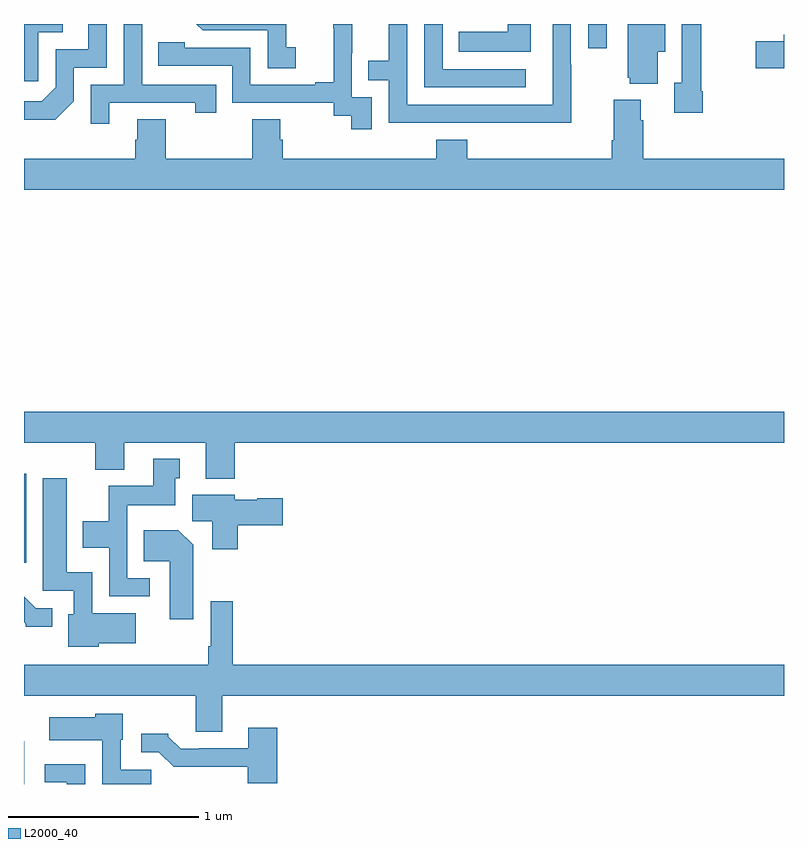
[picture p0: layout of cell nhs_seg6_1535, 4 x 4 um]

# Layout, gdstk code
import gdstk
lib = gdstk.Library(unit=1e-6, precision=1e-09)
def R(c, l, rs):  # rectangles x0, y0, x1, y1
    for r in rs: c.add(gdstk.rectangle(r[:2], r[2:], *l))
def P(c, l, *ps):  # polygons
    for p in ps: c.add(gdstk.Polygon(p, *l))
L2000_40 = (2000, 40)

nhs_seg6_1535 = lib.new_cell('nhs_seg6_1535')
R(nhs_seg6_1535, L2000_40, [(203,985.5,203.002,985.726), (203,986.664,203.011,987.133), (205.971,989.373,206.067,989.5)])
P(nhs_seg6_1535, L2000_40, [(203.449,989.085),(203.9,989.085),(203.9,989.034),(204.011,989.034),(204.011,989.181),(203.622,989.181),(203.622,989.5),(203.526,989.5),(203.526,989.181),(203.352,989.181),(203.352,988.974),(203.449,988.974)],
  [(204.831,989.115),(204.726,989.115),(204.726,989.345),(204.728,989.345),(204.728,989.5),(204.628,989.5),(204.628,989.477),(204.629,989.477),(204.629,989.194),(204.533,989.194),(204.533,989.181),(204.192,989.181),(204.192,989.376),(203.847,989.376),(203.847,989.403),(203.707,989.403),(203.707,989.28),(204.096,989.28),(204.096,989.085),(204.63,989.085),(204.63,989.017),(204.723,989.017),(204.723,988.947),(204.831,988.947)],
  [(205.881,989.285),(205.878,989.285),(205.878,989.5),(205.782,989.5),(205.782,989.076),(205.017,989.076),(205.017,989.5),(204.921,989.5),(204.921,989.306),(204.811,989.306),(204.811,989.205),(204.921,989.205),(204.921,988.98),(205.417,988.98),(205.417,988.979),(205.881,988.979)],
  [(203.076,989.457),(203.205,989.457),(203.205,989.5),(203,989.5),(203,989.199),(203.076,989.199)],
  [(205.642,989.262),(205.203,989.262),(205.203,989.5),(205.107,989.5),(205.107,989.166),(205.642,989.166)],
  [(206.335,989.354),(206.374,989.354),(206.374,989.5),(206.177,989.5),(206.177,989.217),(206.189,989.217),(206.189,989.186),(206.335,989.186)],
  [(206.572,989.146),(206.564,989.146),(206.564,989.5),(206.463,989.5),(206.463,989.19),(206.423,989.19),(206.423,989.034),(206.572,989.034)],
  [(205.666,989.5),(205.545,989.5),(205.545,989.458),(205.288,989.458),(205.288,989.354),(205.666,989.354)],
  [(203.262,989.094),(203.262,989.271),(203.436,989.271),(203.436,989.5),(203.339,989.5),(203.339,989.367),(203.166,989.367),(203.166,989.166),(203.094,989.094),(203,989.094),(203,988.997),(203.164,988.997)],
  [(204.43,989.377),(204.381,989.377),(204.381,989.5),(203.906,989.5),(203.94,989.466),(204.282,989.466),(204.282,989.268),(204.43,989.268)],
  [(207,989.444),(206.999,989.444),(206.999,989.408),(206.85,989.408),(206.85,989.266),(207,989.266)],
  [(207,988.792),(206.258,988.792),(206.258,988.994),(206.245,988.994),(206.245,989.101),(206.105,989.101),(206.105,988.888),(206.093,988.888),(206.093,988.792),(205.334,988.792),(205.334,988.891),(205.169,988.891),(205.169,988.792),(204.362,988.792),(204.362,988.89),(204.349,988.89),(204.349,989),(204.202,989),(204.202,988.792),(203.745,988.792),(203.745,989),(203.597,989),(203.597,988.89),(203.585,988.89),(203.585,988.792),(203,988.792),(203,988.628),(207,988.628)],
  [(204.11,987.296),(207,987.296),(207,987.46),(203,987.46),(203,987.296),(203.375,987.296),(203.375,987.155),(203.527,987.155),(203.527,987.296),(203.957,987.296),(203.957,987.107),(204.11,987.107)],
  [(203.662,986.583),(203.544,986.583),(203.544,986.966),(203.797,986.966),(203.797,987.108),(203.821,987.108),(203.821,987.211),(203.681,987.211),(203.681,987.07),(203.446,987.07),(203.446,986.884),(203.309,986.884),(203.309,986.744),(203.448,986.744),(203.448,986.487),(203.662,986.487)],
  [(203.394,986.24),(203.587,986.24),(203.587,986.398),(203.358,986.398),(203.358,986.614),(203.224,986.614),(203.224,987.109),(203.099,987.109),(203.099,986.517),(203.262,986.517),(203.262,986.394),(203.234,986.394),(203.234,986.222),(203.394,986.222)],
  [(204.125,986.861),(204.361,986.861),(204.361,987.003),(204.228,987.003),(204.228,986.995),(204.108,986.995),(204.108,987.022),(203.885,987.022),(203.885,986.884),(203.99,986.884),(203.99,986.736),(204.125,986.736)],
  [(203.89,986.758),(203.812,986.836),(203.629,986.836),(203.629,986.672),(203.768,986.672),(203.768,986.367),(203.89,986.367)],
  [(203.149,986.424),(203.061,986.424),(203,986.486),(203,986.352),(203.01,986.342),(203.01,986.327),(203.149,986.327)],
  [(204.043,985.964),(207,985.964),(207,986.128),(204.098,986.128),(204.098,986.461),(203.982,986.461),(203.982,986.224),(203.97,986.224),(203.97,986.128),(203,986.128),(203,985.964),(203.903,985.964),(203.903,985.774),(204.043,985.774)],
  [(203.671,985.575),(203.508,985.575),(203.508,985.734),(203.521,985.734),(203.521,985.87),(203.376,985.87),(203.376,985.852),(203.133,985.852),(203.133,985.73),(203.412,985.73),(203.412,985.5),(203.671,985.5)],
  [(204.332,985.795),(204.179,985.795),(204.179,985.689),(203.923,985.689),(203.923,985.686),(203.824,985.686),(203.76,985.75),(203.76,985.765),(203.616,985.765),(203.616,985.668),(203.709,985.668),(203.788,985.59),(204.177,985.59),(204.177,985.505),(204.332,985.505)],
  [(203.322,985.605),(203.109,985.605),(203.109,985.509),(203.226,985.509),(203.226,985.5),(203.322,985.5)])

lib.write_gds('nhs_seg6_1535.gds')
